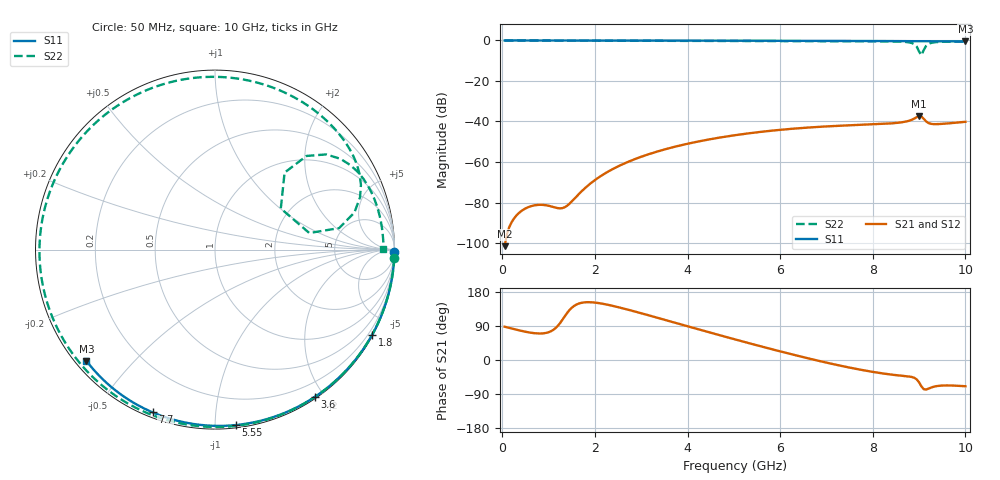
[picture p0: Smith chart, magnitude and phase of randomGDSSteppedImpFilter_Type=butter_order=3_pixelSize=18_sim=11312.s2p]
! freq	dB(S11)	phase(S11)	dB(S12)	phase(S12)
!  dB(S21)	phase(S21)	dB(S22)	phase(S22)
!S-par simulation data
#  GHz  S  DB  R 50
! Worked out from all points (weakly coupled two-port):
!   200 points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, 50 MHz to 10 GHz, reference 50 ohm
!   highest |S21| = -37.29 dB at 9 GHz (marker M1); lowest = -101.5 dB at 50 MHz (marker M2)
!   lowest |S11| = -0.5 dB at 10 GHz (marker M3), VSWR 37.00, Z = 1.54 - j18.6 ohm
!   |S11| at or under -10 dB: nowhere
!   |S22| runs from -7.3 to 0.0 dB; largest |S21 - S12| = 0
!   S11 on the Smith chart (normalised r, x): 50 MHz: open; 1.8 GHz: 0.03, -3.93; 3.6 GHz: 0.02, -1.89; 5.55 GHz: 0.02, -1.13; 7.7 GHz: 0.02, -0.69; 10 GHz: 0.03, -0.37
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0.05  -0.00 -0.8  -101.54 87.8  -101.54 87.8  -0.00 -2.6
0.65  -0.01 -10.4  -81.62 71.4  -81.62 71.4  -0.04 -33.2
1.45  -0.03 -23.1  -80.61 131.7  -80.61 131.7  -0.09 -71.3
1.75  -0.04 -27.8  -73.65 151.8  -73.65 151.8  -0.10 -84.5
1.8  -0.04 -28.5  -72.61 152.4  -72.61 152.4  -0.10 -86.6
2.45  -0.05 -38.6  -62.72 141.0  -62.72 141.0  -0.12 -113.0
3.4  -0.07 -52.8  -54.47 109.7  -54.47 109.7  -0.15 -147.3
3.6  -0.08 -55.7  -53.21 102.8  -53.21 102.8  -0.16 -154.0
4.3  -0.09 -65.8  -49.57 78.8  -49.57 78.8  -0.19 -176.8
5.05  -0.12 -76.3  -46.68 53.5  -46.68 53.5  -0.22 159.4
5.55  -0.14 -83.1  -45.20 37.1  -45.20 37.1  -0.25 143.7
6.7  -0.19 -98.3  -42.85 1.6  -42.85 1.6  -0.31 106.4
7.7  -0.25 -111.0  -41.70 -24.9  -41.70 -24.9  -0.36 71.9
8.35  -0.30 -119.0  -41.01 -37.7  -41.01 -37.7  -0.46 47.3
8.85  -0.35 -125.1  -39.08 -45.1  -39.08 -45.1  -1.32 19.8
8.95  -0.36 -126.4  -37.84 -51.3  -37.84 -51.3  -3.08 9.8
9  -0.36 -127.0  -37.29 -59.0  -37.29 -59.0  -5.46 10.0
9.05  -0.37 -127.6  -37.50 -69.6  -37.50 -69.6  -7.28 32.0
9.1  -0.37 -128.2  -38.66 -76.8  -38.66 -76.8  -4.76 47.9
9.2  -0.38 -129.4  -40.71 -75.8  -40.71 -75.8  -1.77 40.5
9.45  -0.41 -132.4  -41.24 -67.9  -41.24 -67.9  -0.70 22.8
10  -0.47 -139.1  -40.16 -69.3  -40.16 -69.3  -0.55 0.1
